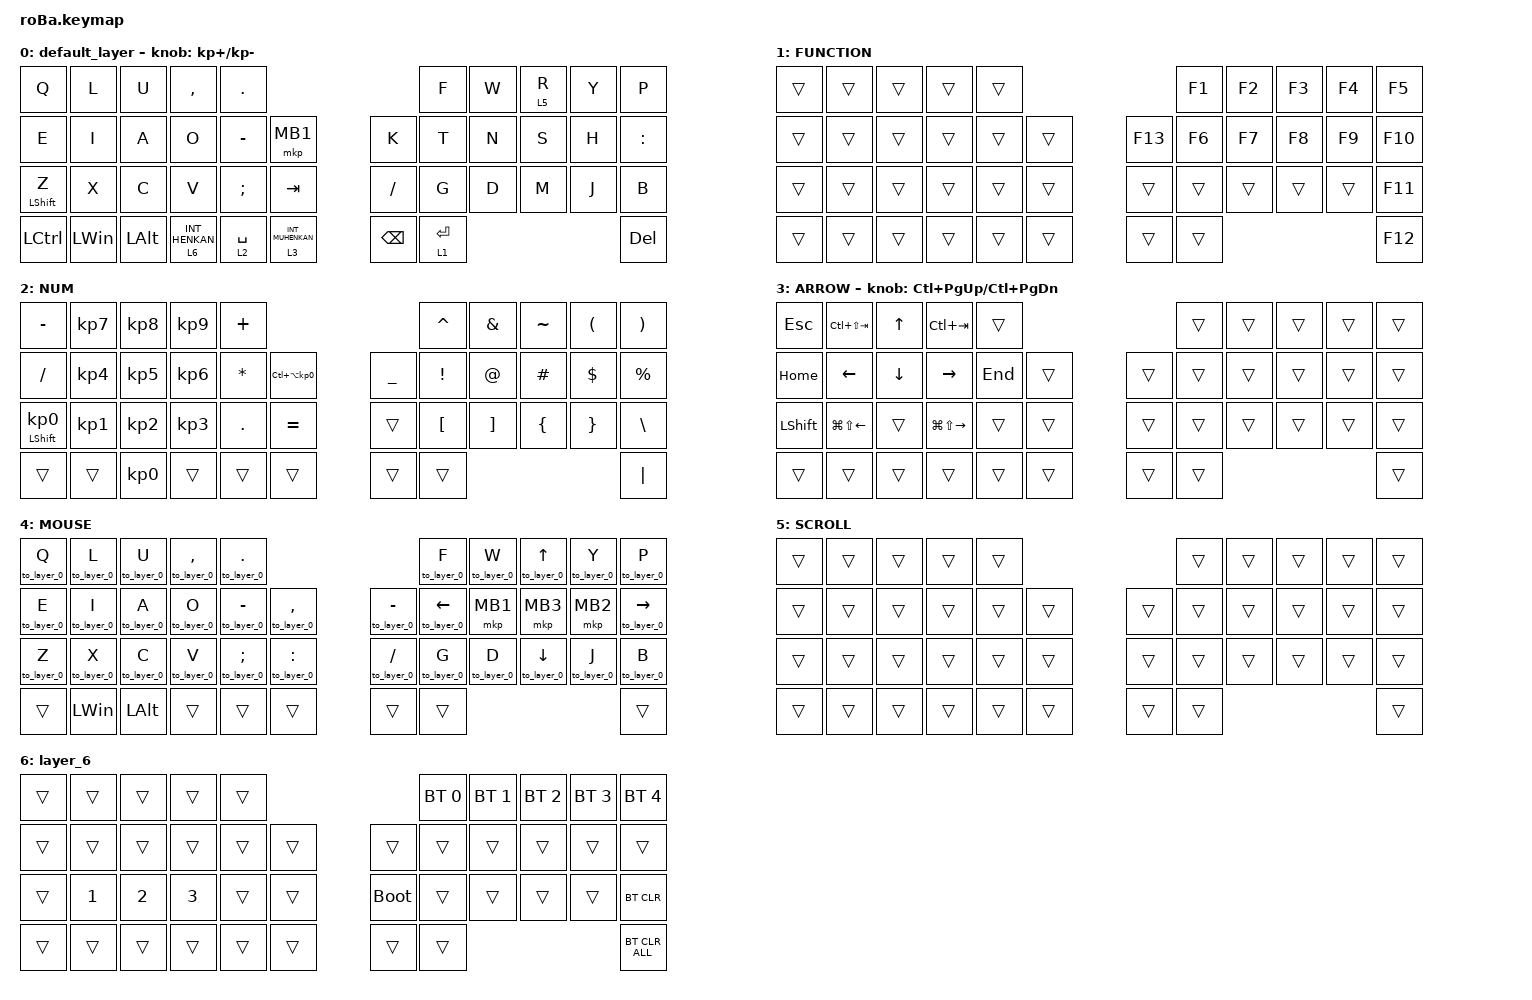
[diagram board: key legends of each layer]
#include <behaviors.dtsi>
#include <dt-bindings/zmk/bt.h>
#include <dt-bindings/zmk/keys.h>
#include <dt-bindings/zmk/pointing.h>

&mt {
    flavor = "balanced";
    quick-tap-ms = <0>;
};

&trackball {
    automouse-layer = <4>;
    scroll-layers = <5>;

    // arrows {
    //     layers = <3>;
    //     bindings =
    //         <&kp RIGHT_ARROW>,
    //         <&kp LEFT_ARROW>,
    //         <&kp UP_ARROW>,
    //         <&kp DOWN_ARROW>;
    //     tick = <10>;
    //     wait-ms = <5>;
    //     tap-ms = <5>;
    // };
};

/ {
    combos {
        compatible = "zmk,combos";

        tab {
            bindings = <&kp TAB>;
            key-positions = <11 12>;
        };

        shift_tab {
            bindings = <&kp LS(TAB)>;
            key-positions = <12 13>;
        };

        muhennkann {
            bindings = <&to_layer_0 INT_MUHENKAN>;
            key-positions = <11 10>;
        };

        double_quotation {
            bindings = <&kp DOUBLE_QUOTES>;
            key-positions = <20 21>;
        };

        eq {
            bindings = <&kp EQUAL>;
            key-positions = <24 25>;
        };
    };

    macros {
        to_layer_0: to_layer_0 {
            compatible = "zmk,behavior-macro-one-param";
            #binding-cells = <1>;
            bindings = <&to 0 &macro_param_1to1 &kp MACRO_PLACEHOLDER>;
            label = "TO_LAYER_0";
        };
    };

    behaviors {
        lt_to_layer_0: lt_to_layer_0 {
            compatible = "zmk,behavior-hold-tap";
            label = "LAYER_TAP_TO_0";
            bindings = <&mo>, <&to_layer_0>;

            #binding-cells = <2>;
            tapping-term-ms = <200>;
        };
    };

    keymap {
        compatible = "zmk,keymap";

        default_layer {
            bindings = <
&kp Q             &kp L         &kp U         &kp COMMA                    &kp PERIOD                                                       &kp F        &kp W  &lt 5 R  &kp Y  &kp P
&kp E             &kp I         &kp A         &kp O                        &kp MINUS      &mkp MB1                           &kp K          &kp T        &kp N  &kp S    &kp H  &kp COLON
&mt LEFT_SHIFT Z  &kp X         &kp C         &kp V                        &kp SEMICOLON  &kp TAB                            &kp SLASH      &kp G        &kp D  &kp M    &kp J  &kp B
&kp LCTRL         &kp LEFT_WIN  &kp LEFT_ALT  &lt_to_layer_0 6 INT_HENKAN  &lt 2 SPACE    &lt_to_layer_0 3 INT_MUHENKAN      &kp BACKSPACE  &lt 1 ENTER                         &kp DEL
            >;

            sensor-bindings = <&inc_dec_kp KP_PLUS KP_MINUS>;
        };

        FUNCTION {
            bindings = <
&trans  &trans  &trans  &trans  &trans                       &kp F1  &kp F2  &kp F3  &kp F4  &kp F5
&trans  &trans  &trans  &trans  &trans  &trans      &kp F13  &kp F6  &kp F7  &kp F8  &kp F9  &kp F10
&trans  &trans  &trans  &trans  &trans  &trans      &trans   &trans  &trans  &trans  &trans  &kp F11
&trans  &trans  &trans  &trans  &trans  &trans      &trans   &trans                          &kp F12
            >;
        };

        NUM {
            bindings = <
&kp MINUS                   &kp KP_NUMBER_7  &kp KP_NUMBER_8  &kp KP_NUMBER_9  &kp PLUS                                                   &kp CARET         &kp AMPERSAND      &kp TILDE       &kp LEFT_PARENTHESIS  &kp RIGHT_PARENTHESIS
&kp SLASH                   &kp KP_NUMBER_4  &kp KP_NUMBER_5  &kp KP_NUMBER_6  &kp ASTERISK  &kp LC(LA(KP_NUMBER_0))      &kp UNDERSCORE  &kp EXCLAMATION   &kp AT_SIGN        &kp HASH        &kp DOLLAR            &kp PERCENT
&mt LEFT_SHIFT KP_NUMBER_0  &kp KP_NUMBER_1  &kp KP_NUMBER_2  &kp KP_NUMBER_3  &kp PERIOD    &kp EQUAL                    &trans          &kp LEFT_BRACKET  &kp RIGHT_BRACKET  &kp LEFT_BRACE  &kp RIGHT_BRACE       &kp BACKSLASH
&trans                      &trans           &kp KP_NUMBER_0  &trans           &trans        &trans                       &trans          &trans                                                                     &kp PIPE
            >;
        };

        ARROW {
            bindings = <
&kp ESCAPE      &kp LC(LS(TAB))         &kp UP_ARROW    &kp LC(TAB)              &trans                       &trans  &trans  &trans  &trans  &trans
&kp HOME        &kp LEFT_ARROW          &kp DOWN_ARROW  &kp RIGHT_ARROW          &kp END  &trans      &trans  &trans  &trans  &trans  &trans  &trans
&kp LEFT_SHIFT  &kp LG(LS(LEFT_ARROW))  &trans          &kp LG(LS(RIGHT_ARROW))  &trans   &trans      &trans  &trans  &trans  &trans  &trans  &trans
&trans          &trans                  &trans          &trans                   &trans   &trans      &trans  &trans                          &trans
            >;

            sensor-bindings = <&inc_dec_kp LC(PAGE_UP) LC(PAGE_DOWN)>;
        };

        MOUSE {
            bindings = <
&to_layer_0 Q  &to_layer_0 L  &to_layer_0 U  &to_layer_0 COMMA  &to_layer_0 PERIOD                                               &to_layer_0 F           &to_layer_0 W  &to_layer_0 UP_ARROW    &to_layer_0 Y  &to_layer_0 P
&to_layer_0 E  &to_layer_0 I  &to_layer_0 A  &to_layer_0 O      &to_layer_0 MINUS      &to_layer_0 COMMA      &to_layer_0 MINUS  &to_layer_0 LEFT_ARROW  &mkp MB1       &mkp MB3                &mkp MB2       &to_layer_0 RIGHT
&to_layer_0 Z  &to_layer_0 X  &to_layer_0 C  &to_layer_0 V      &to_layer_0 SEMICOLON  &to_layer_0 COLON      &to_layer_0 SLASH  &to_layer_0 G           &to_layer_0 D  &to_layer_0 DOWN_ARROW  &to_layer_0 J  &to_layer_0 B
&trans         &kp LEFT_WIN   &kp LEFT_ALT   &trans             &trans                 &trans                 &trans             &trans                                                                        &trans
            >;
        };

        SCROLL {
            bindings = <
&trans  &trans  &trans  &trans  &trans                      &trans  &trans  &trans  &trans  &trans
&trans  &trans  &trans  &trans  &trans  &trans      &trans  &trans  &trans  &trans  &trans  &trans
&trans  &trans  &trans  &trans  &trans  &trans      &trans  &trans  &trans  &trans  &trans  &trans
&trans  &trans  &trans  &trans  &trans  &trans      &trans  &trans                          &trans
            >;
        };

        layer_6 {
            bindings = <
&trans  &trans        &trans        &trans        &trans                           &bt BT_SEL 0  &bt BT_SEL 1  &bt BT_SEL 2  &bt BT_SEL 3  &bt BT_SEL 4
&trans  &trans        &trans        &trans        &trans  &trans      &trans       &trans        &trans        &trans        &trans        &trans
&trans  &kp NUMBER_1  &kp NUMBER_2  &kp NUMBER_3  &trans  &trans      &bootloader  &trans        &trans        &trans        &trans        &bt BT_CLR
&trans  &trans        &trans        &trans        &trans  &trans      &trans       &trans                                                  &bt BT_CLR_ALL
            >;
        };
    };
};
